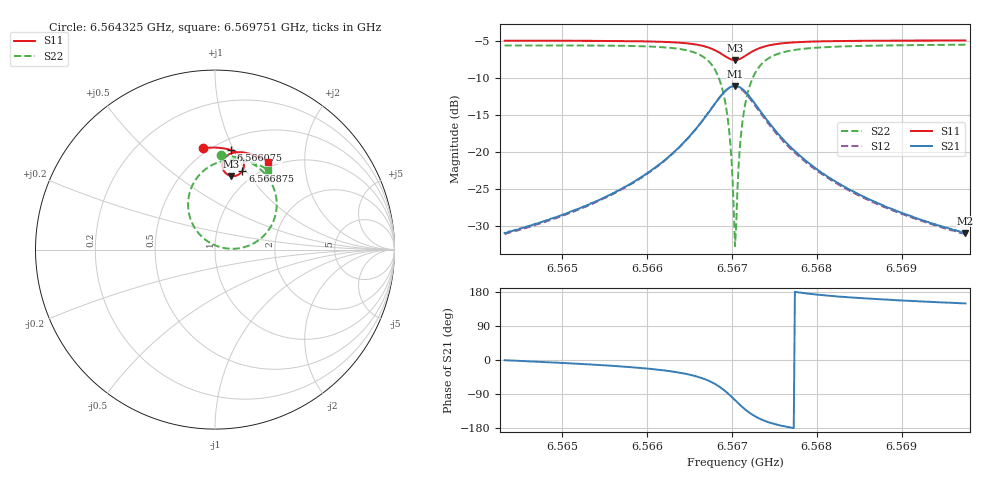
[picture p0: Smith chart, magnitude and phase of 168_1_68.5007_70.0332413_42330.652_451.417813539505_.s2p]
#  HZ  S  RI  R  50.00
! Rohde & Schwarz Vector Network Analyzer
! Rohde-Schwarz,ZNB20-2Port,1311601062101988,3.16
! Created: UTC 3/20/2024, 4:56:04 PM
! freq[Hz]  re:S11  im:S11  re:S21  im:S21  re:S12  im:S12  re:S22  im:S22
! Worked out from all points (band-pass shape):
!   401 points, 6.564325 GHz to 6.569751 GHz, reference 50 ohm
!   highest |S21| = -11.04 dB at 6.567038 GHz (marker M1); lowest = -31.0 dB at 6.569751 GHz (marker M2)
!   |S21| within 3 dB of the highest: 6.566766 GHz to 6.567309 GHz (543.7 kHz wide, 0.00828 % of centre)
!   lowest |S11| = -7.5 dB at 6.567038 GHz (marker M3), VSWR 2.45, Z = 41.1 + j41 ohm
!   |S11| at or under -10 dB: nowhere
!   |S22| runs from -32.8 to -5.4 dB; largest |S21 - S12| = 0.013
!   S11 on the Smith chart (normalised r, x): 6.564325 GHz: 0.46, +0.78; 6.566075 GHz: 0.60, +0.97; 6.566875 GHz: 0.86, +0.96; 6.569751 GHz: 0.91, +1.32
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6.5643254e9  -0.0648 0.5656  0.0282 -0.000277  0.0277 -0.000874  0.0362 0.5269
6.5652341e9  0.00971 0.5681  0.0413 -0.00764  0.0406 -0.00821  0.1226 0.5134
6.566075e9  0.0881 0.5545  0.0698 -0.0313  0.0687 -0.0321  0.2322 0.4632
6.5661428e9  0.0953 0.5518  0.0737 -0.0356  0.0725 -0.0365  0.2439 0.4544
6.5664412e9  0.1298 0.5326  0.0947 -0.0682  0.0931 -0.0696  0.303 0.3901
6.5666582e9  0.1549 0.5013  0.1084 -0.1228  0.1058 -0.1252  0.3418 0.2845
6.5667803e9  0.1615 0.47  0.1006 -0.1776  0.0962 -0.1809  0.3332 0.1799
6.5668752e9  0.1524 0.4387  0.0675 -0.2316  0.0597 -0.2347  0.2736 0.079
6.5669566e9  0.1266 0.4153  0.0065 -0.2692  -0.00476 -0.2691  0.161 0.013
6.5669838e9  0.1144 0.4109  -0.0201 -0.2748  -0.0321 -0.2729  0.1127 0.00484
6.5670244e9  0.0944 0.4097  -0.0627 -0.2733  -0.0746 -0.2684  0.037 0.0114
6.567038e9  0.0877 0.4108  -0.0768 -0.2699  -0.0885 -0.2641  0.0125 0.0192
6.5670516e9  0.0811 0.4128  -0.0904 -0.2654  -0.1016 -0.2583  -0.011 0.0291
6.5670651e9  0.0748 0.4152  -0.1035 -0.2594  -0.1142 -0.2514  -0.0332 0.0411
6.5670923e9  0.0635 0.4224  -0.1274 -0.244  -0.1365 -0.2345  -0.0727 0.0715
6.5671329e9  0.0506 0.4365  -0.1549 -0.2149  -0.1615 -0.2039  -0.1164 0.1264
6.5671872e9  0.0418 0.4581  -0.1762 -0.172  -0.1789 -0.1605  -0.1457 0.2044
6.567255e9  0.0418 0.4833  -0.1819 -0.1226  -0.1816 -0.1127  -0.1469 0.2909
6.5675127e9  0.0813 0.5325  -0.1373 -0.0252  -0.1343 -0.0212  -0.0446 0.4538
6.5679467e9  0.1418 0.543  -0.0801 0.0086  -0.0781 0.00973  0.0859 0.5002
6.5688555e9  0.2264 0.5224  -0.0388 0.0149  -0.0379 0.0152  0.2163 0.4823
6.5697506e9  0.2927 0.4904  -0.0242 0.0144  -0.0235 0.0145  0.2947 0.446
